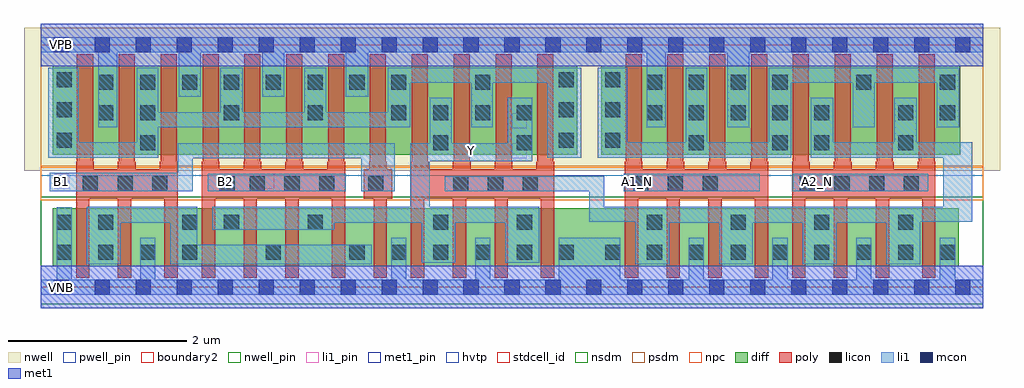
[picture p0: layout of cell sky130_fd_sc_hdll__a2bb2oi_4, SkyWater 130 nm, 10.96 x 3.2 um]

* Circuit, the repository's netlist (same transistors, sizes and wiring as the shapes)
* Copyright 2020 The SkyWater PDK Authors
*
* Licensed under the Apache License, Version 2.0 (the "License");
* you may not use this file except in compliance with the License.
* You may obtain a copy of the License at
*
*     https://www.apache.org/licenses/LICENSE-2.0
*
* Unless required by applicable law or agreed to in writing, software
* distributed under the License is distributed on an "AS IS" BASIS,
* WITHOUT WARRANTIES OR CONDITIONS OF ANY KIND, either express or implied.
* See the License for the specific language governing permissions and
* limitations under the License.
*
* SPDX-License-Identifier: Apache-2.0

.SUBCKT sky130_fd_sc_hdll__a2bb2oi_4 A1_N A2_N B1 B2 VGND VNB VPB VPWR Y
*.PININFO A1_N:I A2_N:I B1:I B2:I VGND:I VNB:I VPB:I VPWR:I Y:O
MMNnor0 inor A1_N VGND VNB sky130_fd_pr__nfet_01v8 m=4 w=0.65U l=0.15U mult=1 sa=0.265
+ sb=0.265 sd=0.28 area=0.063 perim=1.14
MMNnor1 inor A2_N VGND VNB sky130_fd_pr__nfet_01v8 m=4 w=0.65U l=0.15U mult=1 sa=0.265
+ sb=0.265 sd=0.28 area=0.063 perim=1.14
MMNaoi10 VGND B1 sndNB1 VNB sky130_fd_pr__nfet_01v8 m=4 w=0.65U l=0.15U mult=1
+ sa=0.265 sb=0.265 sd=0.28 area=0.063 perim=1.14
MMNaoi11 sndNB1 B2 Y VNB sky130_fd_pr__nfet_01v8 m=4 w=0.65U l=0.15U mult=1 sa=0.265
+ sb=0.265 sd=0.28 area=0.063 perim=1.14
MMNaoi20 Y inor VGND VNB sky130_fd_pr__nfet_01v8 m=4 w=0.65U l=0.15U mult=1 sa=0.265
+ sb=0.265 sd=0.28 area=0.063 perim=1.14
MMPnor0 VPWR A1_N sndPA1N VPB sky130_fd_pr__pfet_01v8_hvt m=4 w=1.0U l=0.18U mult=1
+ sa=0.265 sb=0.265 sd=0.28 area=0.063 perim=1.14
MMPnor1 sndPA1N A2_N inor VPB sky130_fd_pr__pfet_01v8_hvt m=4 w=1.0U l=0.18U mult=1
+ sa=0.265 sb=0.265 sd=0.28 area=0.063 perim=1.14
MMPaoi10 pmid B1 VPWR VPB sky130_fd_pr__pfet_01v8_hvt m=4 w=1.0U l=0.18U mult=1
+ sa=0.265 sb=0.265 sd=0.28 area=0.063 perim=1.14
MMPaoi11 pmid B2 VPWR VPB sky130_fd_pr__pfet_01v8_hvt m=4 w=1.0U l=0.18U mult=1
+ sa=0.265 sb=0.265 sd=0.28 area=0.063 perim=1.14
MMPaoi20 Y inor pmid VPB sky130_fd_pr__pfet_01v8_hvt m=4 w=1.0U l=0.18U mult=1
+ sa=0.265 sb=0.265 sd=0.28 area=0.063 perim=1.14
.ENDS sky130_fd_sc_hdll__a2bb2oi_4

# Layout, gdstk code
import gdstk
lib = gdstk.Library(unit=1e-6, precision=1e-09)
def R(c, l, rs):  # rectangles x0, y0, x1, y1
    for r in rs: c.add(gdstk.rectangle(r[:2], r[2:], *l))
def A(c, l, x, y, w, h, nx, ny, dx, dy):  # array of equal rectangles
    R(c, l, [(x+i*dx, y+j*dy, x+i*dx+w, y+j*dy+h) for i in range(nx) for j in range(ny)])
def P(c, l, *ps):  # polygons
    for p in ps: c.add(gdstk.Polygon(p, *l))
nwell_pin = (64, 16)
nwell = (64, 20)
diff = (65, 20)
poly = (66, 20)
licon = (66, 44)
li1_pin = (67, 16)
li1 = (67, 20)
mcon = (67, 44)
met1_pin = (68, 16)
met1 = (68, 20)
hvtp = (78, 44)
stdcell_id = (81, 4)
nsdm = (93, 44)
psdm = (94, 20)
npc = (95, 20)
pwell_pin = (122, 16)
boundary2 = (236, 0)

sky130_fd_sc_hdll__a2bb2 = lib.new_cell('sky130_fd_sc_hdll__a2bb2oi_4')
R(sky130_fd_sc_hdll__a2bb2, nwell_pin, [(0.15,2.635,0.32,2.805)])
R(sky130_fd_sc_hdll__a2bb2, nwell, [(-0.19,1.305,10.77,2.91)])
R(sky130_fd_sc_hdll__a2bb2, diff, [(0.135,0.235,10.305,0.885), (0.135,1.485,6.025,2.485), (6.295,1.485,10.325,2.485)])
P(sky130_fd_sc_hdll__a2bb2, poly, [(1.535,1.41),(1.525,1.41),(1.525,2.615),(1.345,2.615),(1.345,1.41),(1.335,1.41),(1.335,1.325),(1.065,1.325),(1.065,1.41),(1.055,1.41),(1.055,2.615),(0.875,2.615),(0.875,1.41),(0.865,1.41),(0.865,1.325),(0.595,1.325),(0.595,1.41),(0.585,1.41),(0.585,2.615),(0.405,2.615),(0.405,1.41),(0.395,1.41),(0.395,0.105),(0.545,0.105),(0.545,0.995),(0.865,0.995),(0.865,0.105),(1.015,0.105),(1.015,0.995),(1.385,0.995),(1.385,0.105),(1.535,0.105)],
  [(3.415,1.41),(3.405,1.41),(3.405,2.615),(3.225,2.615),(3.225,1.41),(3.215,1.41),(3.215,1.325),(2.945,1.325),(2.945,1.41),(2.935,1.41),(2.935,2.615),(2.755,2.615),(2.755,1.41),(2.745,1.41),(2.745,1.325),(2.475,1.325),(2.475,1.41),(2.465,1.41),(2.465,2.615),(2.285,2.615),(2.285,1.41),(2.275,1.41),(2.275,1.325),(2.005,1.325),(2.005,1.41),(1.995,1.41),(1.995,2.615),(1.815,2.615),(1.815,1.41),(1.805,1.41),(1.805,0.105),(1.955,0.105),(1.955,0.995),(2.275,0.995),(2.275,0.105),(2.425,0.105),(2.425,0.995),(2.745,0.995),(2.745,0.105),(2.895,0.105),(2.895,0.995),(3.265,0.995),(3.265,0.105),(3.415,0.105)],
  [(3.945,1.325),(3.885,1.325),(3.885,1.41),(3.875,1.41),(3.875,2.615),(3.695,2.615),(3.695,1.41),(3.685,1.41),(3.685,1.325),(3.625,1.325),(3.625,0.995),(3.735,0.995),(3.735,0.105),(3.885,0.105),(3.885,0.995),(3.945,0.995)],
  [(5.765,1.41),(5.755,1.41),(5.755,2.615),(5.575,2.615),(5.575,1.41),(5.565,1.41),(5.565,1.325),(5.295,1.325),(5.295,1.41),(5.285,1.41),(5.285,2.615),(5.105,2.615),(5.105,1.41),(5.095,1.41),(5.095,1.325),(4.825,1.325),(4.825,1.41),(4.815,1.41),(4.815,2.615),(4.635,2.615),(4.635,1.41),(4.625,1.41),(4.625,1.325),(4.355,1.325),(4.355,1.41),(4.345,1.41),(4.345,2.615),(4.165,2.615),(4.165,1.41),(4.155,1.41),(4.155,0.105),(4.305,0.105),(4.305,0.995),(4.625,0.995),(4.625,0.105),(4.775,0.105),(4.775,0.995),(5.095,0.995),(5.095,0.105),(5.245,0.105),(5.245,0.995),(5.615,0.995),(5.615,0.105),(5.765,0.105)],
  [(8.165,1.41),(8.155,1.41),(8.155,2.615),(7.975,2.615),(7.975,1.41),(7.965,1.41),(7.965,1.325),(7.695,1.325),(7.695,1.41),(7.685,1.41),(7.685,2.615),(7.505,2.615),(7.505,1.41),(7.495,1.41),(7.495,1.325),(7.225,1.325),(7.225,1.41),(7.215,1.41),(7.215,2.615),(7.035,2.615),(7.035,1.41),(7.025,1.41),(7.025,1.325),(6.755,1.325),(6.755,1.41),(6.745,1.41),(6.745,2.615),(6.565,2.615),(6.565,1.41),(6.555,1.41),(6.555,0.105),(6.705,0.105),(6.705,0.995),(7.025,0.995),(7.025,0.105),(7.175,0.105),(7.175,0.995),(7.495,0.995),(7.495,0.105),(7.645,0.105),(7.645,0.995),(8.015,0.995),(8.015,0.105),(8.165,0.105)],
  [(10.045,1.41),(10.035,1.41),(10.035,2.615),(9.855,2.615),(9.855,1.41),(9.845,1.41),(9.845,1.325),(9.575,1.325),(9.575,1.41),(9.565,1.41),(9.565,2.615),(9.385,2.615),(9.385,1.41),(9.375,1.41),(9.375,1.325),(9.105,1.325),(9.105,1.41),(9.095,1.41),(9.095,2.615),(8.915,2.615),(8.915,1.41),(8.905,1.41),(8.905,1.325),(8.635,1.325),(8.635,1.41),(8.625,1.41),(8.625,2.615),(8.445,2.615),(8.445,1.41),(8.435,1.41),(8.435,0.105),(8.585,0.105),(8.585,0.995),(8.905,0.995),(8.905,0.105),(9.055,0.105),(9.055,0.995),(9.375,0.995),(9.375,0.105),(9.525,0.105),(9.525,0.995),(9.895,0.995),(9.895,0.105),(10.045,0.105)])
A(sky130_fd_sc_hdll__a2bb2, licon, 0.175, 0.305, 0.17, 0.17, 4, 1, 0.47, 0)
A(sky130_fd_sc_hdll__a2bb2, licon, 3.465, 0.305, 0.17, 0.17, 6, 1, 0.47, 0)
A(sky130_fd_sc_hdll__a2bb2, licon, 6.335, 0.305, 0.17, 0.17, 9, 1, 0.47, 0)
A(sky130_fd_sc_hdll__a2bb2, licon, 6.805, 0.645, 0.17, 0.17, 4, 1, 0.94, 0)
A(sky130_fd_sc_hdll__a2bb2, licon, 0.47, 1.075, 0.17, 0.17, 3, 1, 0.39, 0)
A(sky130_fd_sc_hdll__a2bb2, licon, 2.345, 1.075, 0.17, 0.17, 3, 1, 0.39, 0)
A(sky130_fd_sc_hdll__a2bb2, licon, 4.63, 1.075, 0.17, 0.17, 3, 1, 0.39, 0)
A(sky130_fd_sc_hdll__a2bb2, licon, 6.65, 1.075, 0.17, 0.17, 3, 1, 0.39, 0)
A(sky130_fd_sc_hdll__a2bb2, licon, 8.52, 1.075, 0.17, 0.17, 4, 1, 0.39, 0)
A(sky130_fd_sc_hdll__a2bb2, licon, 0.175, 1.565, 0.17, 0.17, 1, 3, 0, 0.34)
A(sky130_fd_sc_hdll__a2bb2, licon, 5.815, 1.565, 0.17, 0.17, 1, 3, 0, 0.34)
A(sky130_fd_sc_hdll__a2bb2, licon, 6.335, 1.565, 0.17, 0.17, 1, 3, 0, 0.34)
A(sky130_fd_sc_hdll__a2bb2, licon, 1.115, 1.875, 0.17, 0.17, 4, 1, 0.94, 0)
A(sky130_fd_sc_hdll__a2bb2, licon, 4.405, 1.875, 0.17, 0.17, 3, 1, 0.47, 0)
A(sky130_fd_sc_hdll__a2bb2, licon, 6.805, 1.875, 0.17, 0.17, 5, 1, 0.47, 0)
A(sky130_fd_sc_hdll__a2bb2, licon, 0.645, 2.215, 0.17, 0.17, 8, 1, 0.47, 0)
A(sky130_fd_sc_hdll__a2bb2, licon, 6.805, 2.215, 0.17, 0.17, 4, 1, 0.47, 0)
R(sky130_fd_sc_hdll__a2bb2, licon, [(2.525,0.305,2.695,0.475), (0.175,0.645,0.345,0.815), (0.645,0.645,0.815,0.815), (1.585,0.645,1.755,0.815), (2.055,0.645,2.225,0.815), (2.995,0.645,3.165,0.815), (4.405,0.645,4.575,0.815), (5.345,0.645,5.515,0.815), (2.005,1.075,2.175,1.245), (3.675,1.075,3.845,1.245), (8.52,1.075,8.69,1.245), (1.115,1.535,1.285,1.705), (4.405,1.535,4.575,1.705), (5.345,1.535,5.515,1.705), (7.275,1.535,7.445,1.705), (8.215,1.535,8.385,1.705), (8.685,1.535,8.855,1.705), (9.625,1.535,9.795,1.705), (0.645,1.875,0.815,2.045), (9.625,1.875,9.795,2.045), (10.095,1.875,10.265,2.045), (4.875,2.215,5.045,2.385), (9.155,2.215,9.325,2.385), (10.095,2.215,10.265,2.385)])
R(sky130_fd_sc_hdll__a2bb2, li1_pin, [(8.91,1.075,9.08,1.245), (0.15,1.105,0.32,1.275), (2.45,1.105,2.62,1.275), (7.045,1.105,7.215,1.275), (5.285,1.445,5.455,1.615), (5.285,1.785,5.455,1.955)])
R(sky130_fd_sc_hdll__a2bb2, li1, [(1.875,1.075,3.425,1.275), (6.545,1.075,8.07,1.275), (8.44,1.075,9.965,1.275)])
P(sky130_fd_sc_hdll__a2bb2, li1, [(3.715,0.475),(1.755,0.475),(1.755,0.905),(0.515,0.905),(0.515,0.255),(0.895,0.255),(0.895,0.725),(1.455,0.725),(1.455,0.255),(3.715,0.255)],
  [(10.58,0.085),(10.265,0.085),(10.265,0.555),(10.095,0.555),(10.095,0.085),(9.325,0.085),(9.325,0.555),(9.155,0.555),(9.155,0.085),(8.385,0.085),(8.385,0.555),(8.215,0.555),(8.215,0.085),(7.445,0.085),(7.445,0.555),(7.275,0.555),(7.275,0.085),(6.505,0.085),(6.505,0.555),(5.815,0.555),(5.815,0.085),(5.045,0.085),(5.045,0.555),(4.875,0.555),(4.875,0.085),(4.105,0.085),(4.105,0.555),(3.935,0.555),(3.935,0.085),(1.285,0.085),(1.285,0.555),(1.115,0.555),(1.115,0.085),(0.345,0.085),(0.345,0.895),(0.175,0.895),(0.175,0.085),(0,0.085),(0,-0.085),(10.58,-0.085)],
  [(10.58,2.805),(0,2.805),(0,2.635),(0.645,2.635),(0.645,1.795),(0.855,1.795),(0.855,2.635),(1.545,2.635),(1.545,2.135),(1.795,2.135),(1.795,2.635),(2.485,2.635),(2.485,2.135),(2.735,2.135),(2.735,2.635),(3.425,2.635),(3.425,2.135),(3.675,2.135),(3.675,2.635),(6.805,2.635),(6.805,1.795),(7.015,1.795),(7.015,2.635),(7.705,2.635),(7.705,1.795),(7.955,1.795),(7.955,2.635),(10.58,2.635)],
  [(3.975,1.615),(1.535,1.615),(1.535,1.285),(0.1,1.285),(0.1,1.075),(1.705,1.075),(1.705,1.445),(3.595,1.445),(3.595,1.075),(3.975,1.075)],
  [(5.595,0.905),(4.365,0.905),(4.365,1.415),(5.515,1.415),(5.515,2.125),(5.245,2.125),(5.245,1.615),(4.615,1.615),(4.615,2.125),(4.365,2.125),(4.365,1.615),(4.145,1.615),(4.145,0.905),(1.925,0.905),(1.925,0.645),(3.295,0.645),(3.295,0.725),(4.275,0.725),(4.275,0.275),(4.655,0.275),(4.655,0.725),(5.215,0.725),(5.215,0.275),(5.595,0.275)],
  [(6.065,2.465),(3.895,2.465),(3.895,1.965),(3.205,1.965),(3.205,2.465),(2.955,2.465),(2.955,1.965),(2.265,1.965),(2.265,2.465),(2.015,2.465),(2.015,1.965),(1.315,1.965),(1.315,2.465),(1.075,2.465),(1.075,1.625),(0.425,1.625),(0.425,2.465),(0.085,2.465),(0.085,1.455),(1.315,1.455),(1.315,1.795),(4.145,1.795),(4.145,2.295),(4.835,2.295),(4.835,1.795),(5.075,1.795),(5.075,2.295),(5.685,2.295),(5.685,1.455),(6.065,1.455)],
  [(10.31,2.465),(8.175,2.465),(8.175,1.625),(7.48,1.625),(7.48,2.465),(7.24,2.465),(7.24,1.625),(6.585,1.625),(6.585,2.465),(6.255,2.465),(6.255,1.455),(8.425,1.455),(8.425,2.295),(9.115,2.295),(9.115,1.795),(9.365,1.795),(9.365,2.295),(10.06,2.295),(10.06,1.795),(10.31,1.795)],
  [(10.46,1.625),(9.835,1.625),(9.835,2.125),(9.585,2.125),(9.585,1.625),(8.895,1.625),(8.895,2.125),(8.645,2.125),(8.645,1.455),(10.135,1.455),(10.135,0.905),(6.325,0.905),(6.325,1.245),(4.535,1.245),(4.535,1.075),(6.155,1.075),(6.155,0.735),(6.675,0.735),(6.675,0.255),(7.055,0.255),(7.055,0.725),(7.615,0.725),(7.615,0.255),(7.995,0.255),(7.995,0.725),(8.555,0.725),(8.555,0.255),(8.935,0.255),(8.935,0.725),(9.495,0.725),(9.495,0.255),(9.875,0.255),(9.875,0.735),(10.46,0.735)])
A(sky130_fd_sc_hdll__a2bb2, mcon, 0.145, -0.085, 0.17, 0.17, 23, 2, 0.46, 2.72)
R(sky130_fd_sc_hdll__a2bb2, met1_pin, [(0.15,-0.085,0.32,0.085), (0.15,2.635,0.32,2.805)])
R(sky130_fd_sc_hdll__a2bb2, met1, [(0,-0.24,10.58,0.24), (0,2.48,10.58,2.96)])
R(sky130_fd_sc_hdll__a2bb2, hvtp, [(0,1.25,10.58,2.72)])
R(sky130_fd_sc_hdll__a2bb2, stdcell_id, [(0,0,10.58,2.72)])
R(sky130_fd_sc_hdll__a2bb2, nsdm, [(0,-0.19,10.58,1.015)])
R(sky130_fd_sc_hdll__a2bb2, psdm, [(0,1.355,10.58,2.91)])
R(sky130_fd_sc_hdll__a2bb2, npc, [(0,0.975,10.58,1.345)])
R(sky130_fd_sc_hdll__a2bb2, pwell_pin, [(0.15,-0.085,0.32,0.085)])
R(sky130_fd_sc_hdll__a2bb2, boundary2, [(0,0,10.58,2.72)])
sky130_fd_sc_hdll__a2bb2.add(gdstk.Label('Y', (4.835,1.53), layer=67, texttype=5))
sky130_fd_sc_hdll__a2bb2.add(gdstk.Label('A2_N', (8.725,1.19), layer=67, texttype=5))
sky130_fd_sc_hdll__a2bb2.add(gdstk.Label('B2', (2.075,1.19), layer=67, texttype=5))
sky130_fd_sc_hdll__a2bb2.add(gdstk.Label('A1_N', (6.695,1.19), layer=67, texttype=5))
sky130_fd_sc_hdll__a2bb2.add(gdstk.Label('B1', (0.23,1.19), layer=67, texttype=5))
sky130_fd_sc_hdll__a2bb2.add(gdstk.Label('VNB', (0.23,0), layer=64, texttype=59))
sky130_fd_sc_hdll__a2bb2.add(gdstk.Label('VPB', (0.23,2.72), layer=64, texttype=5))
sky130_fd_sc_hdll__a2bb2.add(gdstk.Label('VGND', (0.23,0), layer=68, texttype=5))
sky130_fd_sc_hdll__a2bb2.add(gdstk.Label('VPWR', (0.23,2.72), layer=68, texttype=5))

lib.write_gds('sky130_fd_sc_hdll__a2bb2oi_4.gds')
